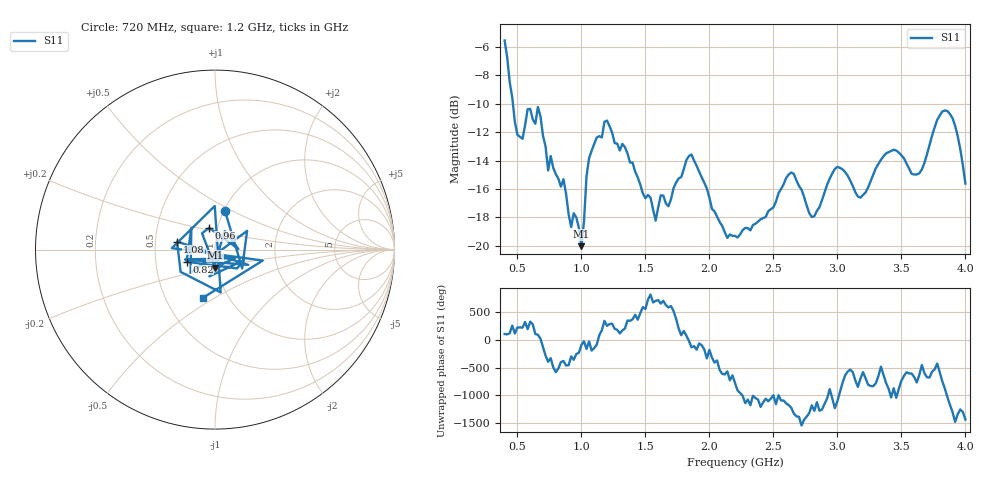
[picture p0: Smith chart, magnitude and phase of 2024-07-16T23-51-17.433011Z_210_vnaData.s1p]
!Created with skrf (http://scikit-rf.org).
# Hz S RI R 50.0
!freq ReS11 ImS11
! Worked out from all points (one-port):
!   181 points, 400 MHz to 4 GHz, reference 50 ohm
!   lowest |S11| = -20.0 dB at 1 GHz (marker M1), VSWR 1.22, Z = 49 - j9.88 ohm
!   |S11| at or under -10 dB: 464.9 MHz to end of sweep
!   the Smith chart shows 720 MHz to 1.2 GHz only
!   S11 on the Smith chart (normalised r, x): 720 MHz: 1.01, +0.46; 820 MHz: 0.72, -0.10; 960 MHz: 0.91, +0.23; 1.08 GHz: 0.65, +0.06; 1.2 GHz: 0.76, -0.44
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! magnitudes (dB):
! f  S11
! 400 MHz  -5.6
! 500 MHz  -12.2
! 660 MHz  -10.2
! 720 MHz  -13.0
! 740 MHz  -14.7
! 820 MHz  -15.3
! 860 MHz  -15.3
! 920 MHz  -18.7
! 960 MHz  -18.0
! 1 GHz  -20.0
! 1.04 GHz  -15.1
! 1.08 GHz  -13.3
! 1.2 GHz  -11.2
! 1.3 GHz  -13.3
! 1.58 GHz  -18.2
! 1.76 GHz  -15.3
! 1.86 GHz  -13.6
! 2.2 GHz  -19.3
! 2.66 GHz  -14.9
! 2.8 GHz  -18.0
! 2.98 GHz  -14.6
! 3.1 GHz  -15.4
! 3.18 GHz  -16.6
! 3.44 GHz  -13.2
! 3.56 GHz  -14.6
! 3.64 GHz  -14.9
! 3.86 GHz  -10.5
! 4 GHz  -15.6
